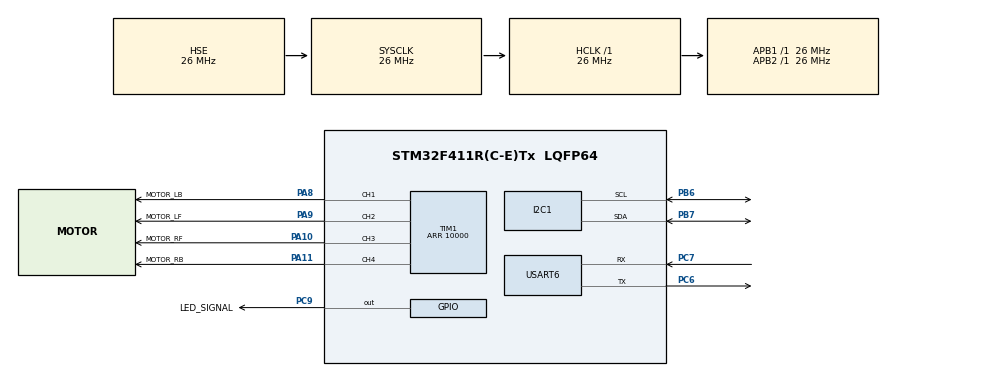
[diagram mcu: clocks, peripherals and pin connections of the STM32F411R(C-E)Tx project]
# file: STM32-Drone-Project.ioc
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I2C1.I2C_Mode=I2C_Fast
Mcu.Family=STM32F4
Mcu.Name=STM32F411R(C-E)Tx
Mcu.Package=LQFP64
NVIC.PriorityGroup=NVIC_PRIORITYGROUP_4
NVIC.USART6_IRQn=true\:0\:0\:false\:false\:true\:true\:true\:true
PA10.GPIO_Label=MOTOR_RF
PA10.Signal=S_TIM1_CH3
PA11.GPIO_Label=MOTOR_RB
PA11.Signal=S_TIM1_CH4
PA13.Mode=Serial_Wire
PA13.Signal=SYS_JTMS-SWDIO
PA14.Mode=Serial_Wire
PA14.Signal=SYS_JTCK-SWCLK
PA8.GPIO_Label=MOTOR_LB
PA8.Signal=S_TIM1_CH1
PA9.GPIO_Label=MOTOR_LF
PA9.Signal=S_TIM1_CH2
PB6.Mode=I2C
PB6.Signal=I2C1_SCL
PB7.Mode=I2C
PB7.Signal=I2C1_SDA
PC14-OSC32_IN.Mode=LSE-External-Oscillator
PC14-OSC32_IN.Signal=RCC_OSC32_IN
PC15-OSC32_OUT.Mode=LSE-External-Oscillator
PC15-OSC32_OUT.Signal=RCC_OSC32_OUT
PC6.Mode=Asynchronous
PC6.Signal=USART6_TX
PC7.Mode=Asynchronous
PC7.Signal=USART6_RX
PC9.GPIO_Label=LED_SIGNAL
PC9.Signal=GPIO_Output
PH0\ -\ OSC_IN.Mode=HSE-External-Oscillator
PH0\ -\ OSC_IN.Signal=RCC_OSC_IN
PH1\ -\ OSC_OUT.Mode=HSE-External-Oscillator
PH1\ -\ OSC_OUT.Signal=RCC_OSC_OUT
ProjectManager.HeapSize=0x200
ProjectManager.StackSize=0x400
ProjectManager.TargetToolchain=STM32CubeIDE
RCC.48MHZClocksFreq_Value=78000000
RCC.AHBFreq_Value=26000000
RCC.APB1Freq_Value=26000000
RCC.APB1TimFreq_Value=26000000
RCC.APB2Freq_Value=26000000
RCC.APB2TimFreq_Value=26000000
RCC.CortexFreq_Value=26000000
RCC.HCLKFreq_Value=26000000
RCC.HSE_VALUE=26000000
RCC.HSI_VALUE=16000000
RCC.PLLSourceVirtual=RCC_PLLSOURCE_HSE
RCC.SYSCLKFreq_VALUE=26000000
RCC.SYSCLKSource=RCC_SYSCLKSOURCE_HSE
RCC.VCOOutputFreq_Value=312000000
SH.S_TIM1_CH1.0=TIM1_CH1,PWM Generation1 CH1
SH.S_TIM1_CH2.0=TIM1_CH2,PWM Generation2 CH2
SH.S_TIM1_CH3.0=TIM1_CH3,PWM Generation3 CH3
SH.S_TIM1_CH4.0=TIM1_CH4,PWM Generation4 CH4
TIM1.Channel-PWM\ Generation1\ CH1=TIM_CHANNEL_1
TIM1.Channel-PWM\ Generation2\ CH2=TIM_CHANNEL_2
TIM1.Channel-PWM\ Generation3\ CH3=TIM_CHANNEL_3
TIM1.Channel-PWM\ Generation4\ CH4=TIM_CHANNEL_4
TIM1.Period=10000
USART6.VirtualMode=VM_ASYNC
board=custom

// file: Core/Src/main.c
/* USER CODE BEGIN Header */
/**
  ******************************************************************************
  * @file           : main.c
  * @brief          : Main program body
  ******************************************************************************
  */
/* USER CODE END Header */
#include "main.h"
#include "i2c.h"
#include "tim.h"
#include "usart.h"
#include "gpio.h"

/* USER CODE BEGIN Includes */
#include "MPU6050.h"
#include "Madgwick.h"
#include "protocol.h"
#include <stdio.h>
#include <string.h>
#include <math.h>
/* USER CODE END Includes */

/* USER CODE BEGIN PTD */
typedef enum {
    CTRL_MANUAL = 0,
    CTRL_STAB   = 1
} ControlMode_t;
/* USER CODE END PTD */

/* USER CODE BEGIN PD */
#define DEG2RAD 0.0174532925f
#define RAD2DEG 57.2957795f

#define IMU_UPDATE_PERIOD_MS 10u

#define ACC_LPF_CUTOFF_HZ  20.0f
#define ACC_G_MIN          0.20f
#define ACC_G_MAX          3.50f

#define TILT_KILL_DEG            35.0f
#define TILT_UNKILL_DEG          25.0f
#define TILT_KILL_DEBOUNCE_MS    50u
#define TILT_UNKILL_HOLD_MS      300u

#define PWM_MIN 0
#define PWM_MAX 10000
#define PWM_STAB_FLOOR 0

#define STAB_KP_ROLL    26.0f
#define STAB_KD_ROLL    7.0f
#define STAB_KI_ROLL    0.25f

#define STAB_KP_PITCH   26.0f
#define STAB_KD_PITCH   9.0f
#define STAB_KI_PITCH   0.25f

#define STAB_U_MAX      4200.0f
#define STAB_I_MAX      5200.0f

#define STAB_KFF_YAW       0.0f
#define STAB_YAW_SIGN      -1.0f
#define STAB_YAW_MAX       1500.0f
#define STAB_YAW_I_MAX     2500.0f
#define STAB_KP_YAW_RATE   5.0f
#define STAB_KI_YAW_RATE   0.08f

#define IMU_SWAP_ROLL_PITCH  1

#define STAB_ROLL_SIGN       1.0f
#define STAB_PITCH_SIGN     -1.0f

#define YAW_CCW_IS_RF_LB     1
#define YAW_MIX_FRONT_CCW_REAR_CW  1

#define CMD_TILT_SLEW_DEG_PER_S     80.0f
#define CMD_YAW_SLEW_DPS_PER_S     900.0f
#define BASE_SLEW_PWM_PER_S      7000.0f
#define NAV_BIAS_SLEW_PWM_PER_S    6000.0f

#define MOTOR_GAIN_LF   1.150f
#define MOTOR_GAIN_LB   1.000f
#define MOTOR_GAIN_RF   1.500f
#define MOTOR_GAIN_RB   1.150f

#define MOTOR_OFFS_LF   150.0f
#define MOTOR_OFFS_LB   0.0f
#define MOTOR_OFFS_RF   300.0f
#define MOTOR_OFFS_RB   200.0f

#define YAW_TRIM        450.0f
#define ROLL_TRIM_DEG   0.00f
#define PITCH_TRIM_DEG  0.00f

#define LEVEL_CALIB_SAMPLES         200u
#define LEVEL_CALIB_GYRO_MAX_DPS    2.5f
#define LEVEL_CALIB_ACC_OK_REQUIRED 1

#define CG_ROLL_BIAS_GROUND_PWM   -235
#define CG_ROLL_BIAS_AIR_PWM      -235

#define CG_PITCH_BIAS_GROUND_PWM  160
#define CG_PITCH_BIAS_AIR_PWM     160

#define CG_BIAS_START_PWM   1400u
#define CG_BIAS_FULL_PWM    3200u

#define I_ENABLE_BASE_PWM   7800
#define I_DISABLE_BASE_PWM  7400

#define NAV_TILT_DEG        10.0f
#define NAV_YAW_RATE_DPS    180.0f
#define NAV_THRUST_BIAS     0
#define NAV_MIX_GAIN        1.0f

#define TAKEOFF_BLEND_START_PWM  0.0f
#define TAKEOFF_BLEND_FULL_PWM   1.0f
#define TAKEOFF_BLEND_MIN        1.0f

#define ACT_ENABLE_BASE_PWM     7800u
#define ACT_MAX_ANGLE_DEG       2.0f
#define ACT_MAX_RATE_DPS        15.0f
#define ACT_K                  4.0f
#define ACT_MAX_BIAS_PWM       500.0f
#define ACT_ERR_LPF_HZ          1.0f
/* USER CODE END PD */

/* USER CODE BEGIN PV */
MPU6050_t imu;
Madgwick_t filter;

static uint32_t lastTick = 0;

static ImuPayload_t g_imu_last;
static uint8_t g_imu_ready = 0;
static uint32_t g_imu_last_update = 0;

static volatile uint8_t g_tilt_kill = 0;
static uint32_t g_tilt_kill_since = 0;
static uint32_t g_tilt_unkill_since = 0;

static float ax_f = 0.0f, ay_f = 0.0f, az_f = 1.0f;

static PwmPayload_t g_last_pwm_cmd;
static uint8_t g_have_pwm_cmd = 0;

static volatile ControlMode_t g_ctrl_mode = CTRL_MANUAL;
static volatile uint8_t g_armed = 0;

static float i_roll = 0.0f, i_pitch = 0.0f, i_yaw = 0.0f;
static uint8_t g_i_enabled = 0;

static volatile float g_roll_deg = 0.0f;
static volatile float g_pitch_deg = 0.0f;
static volatile float g_gyro_roll_dps = 0.0f;
static volatile float g_gyro_pitch_dps = 0.0f;
static volatile float g_gyro_yaw_dps = 0.0f;
static volatile uint8_t g_att_valid = 0;

static volatile float g_cmd_roll_deg = 0.0f;
static volatile float g_cmd_pitch_deg = 0.0f;
static volatile float g_cmd_yaw_rate_dps = 0.0f;
static volatile uint16_t g_stab_base_pwm = 0;
static volatile int32_t g_nav_bias = 0;

static volatile float g_target_cmd_roll_deg = 0.0f;
static volatile float g_target_cmd_pitch_deg = 0.0f;
static volatile float g_target_cmd_yaw_rate_dps = 0.0f;
static volatile uint16_t g_target_base_pwm = 0;
static volatile uint8_t g_last_nav_action = NAV_STOP;

static volatile uint8_t g_imu_new = 0;

static volatile float g_level_roll_off = 0.0f;
static volatile float g_level_pitch_off = 0.0f;
static volatile uint8_t g_level_calib_done = 0;
static float g_level_sum_roll = 0.0f;
static float g_level_sum_pitch = 0.0f;
static uint16_t g_level_n = 0;

static volatile int16_t  g_dbg_err_roll_cdeg  = 0;
static volatile int16_t  g_dbg_err_pitch_cdeg = 0;

static volatile int16_t  g_dbg_u_roll  = 0;
static volatile int16_t  g_dbg_u_pitch = 0;
static volatile int16_t  g_dbg_u_yaw   = 0;

static volatile uint16_t g_dbg_k_milli = 1000;
static volatile uint8_t  g_dbg_sat = 0;
static volatile uint8_t  g_dbg_i_enabled = 0;

static volatile float g_hover_ref_roll = 0.0f;
static volatile float g_hover_ref_pitch = 0.0f;
static volatile uint8_t g_hover_ref_valid = 0;

static float g_act_bias_roll  = 0.0f;
static float g_act_bias_pitch = 0.0f;

static float g_act_err_roll_f  = 0.0f;
static float g_act_err_pitch_f = 0.0f;
/* USER CODE END PV */

void SystemClock_Config(void);

/* USER CODE BEGIN PFP */
#define UART_RX_RING_SIZE 256

static volatile uint8_t  uart_rx_ring[UART_RX_RING_SIZE];
static volatile uint16_t uart_rx_head = 0;
static volatile uint16_t uart_rx_tail = 0;
static uint8_t uart_rx_it_byte;

static void UartRing_Push(uint8_t b)
{
    uint16_t next = (uint16_t)((uart_rx_head + 1) % UART_RX_RING_SIZE);
    if (next != uart_rx_tail)
    {
        uart_rx_ring[uart_rx_head] = b;
        uart_rx_head = next;
    }
}

static int UartRing_Pop(uint8_t *out)
{
    if (uart_rx_tail == uart_rx_head) return 0;
    *out = uart_rx_ring[uart_rx_tail];
    uart_rx_tail = (uint16_t)((uart_rx_tail + 1) % UART_RX_RING_SIZE);
    return 1;
}

static inline float lpf_alpha(float dt, float cutoff_hz)
{
    const float RC = 1.0f / (2.0f * 3.1415926535f * cutoff_hz);
    return dt / (dt + RC);
}

static inline void lpf3(float dt, float cutoff_hz,
                        float ax, float ay, float az,
                        float *ox, float *oy, float *oz)
{
    float a = lpf_alpha(dt, cutoff_hz);
    *ox += a * (ax - *ox);
    *oy += a * (ay - *oy);
    *oz += a * (az - *oz);
}

static inline int accel_norm_ok(float ax, float ay, float az, float g_min, float g_max)
{
    float n = sqrtf(ax*ax + ay*ay + az*az);
    return (n >= g_min && n <= g_max) ? 1 : 0;
}

static inline uint16_t clamp_u16(int32_t v, int32_t lo, int32_t hi)
{
    if (v < lo) return (uint16_t)lo;
    if (v > hi) return (uint16_t)hi;
    return (uint16_t)v;
}

static inline float clamp_f(float v, float lo, float hi)
{
    if (v < lo) return lo;
    if (v > hi) return hi;
    return v;
}

static inline float slew_f(float cur, float target, float max_rate_per_s, float dt)
{
    float max_step = max_rate_per_s * dt;
    float d = target - cur;
    if (d > max_step) d = max_step;
    if (d < -max_step) d = -max_step;
    return cur + d;
}

static inline int32_t slew_i32(int32_t cur, int32_t target, float max_rate_per_s, float dt)
{
    float max_step_f = max_rate_per_s * dt;
    int32_t max_step = (int32_t)lroundf(max_step_f);
    int32_t d = target - cur;
    if (d > max_step) d = max_step;
    if (d < -max_step) d = -max_step;
    return cur + d;
}

static void GetCtrlAnglesNow(float *out_roll_ctrl_deg, float *out_pitch_ctrl_deg)
{
    float roll_raw  = (float)g_roll_deg;
    float pitch_raw = (float)g_pitch_deg;

    float roll_meas_raw, pitch_meas_raw;

#if IMU_SWAP_ROLL_PITCH
    roll_meas_raw  = pitch_raw - g_level_pitch_off;
    pitch_meas_raw = roll_raw  - g_level_roll_off;
#else
    roll_meas_raw  = roll_raw  - g_level_roll_off;
    pitch_meas_raw = pitch_raw - g_level_pitch_off;
#endif

    float roll_ctrl  = roll_meas_raw  * STAB_ROLL_SIGN;
    float pitch_ctrl = pitch_meas_raw * STAB_PITCH_SIGN;

    *out_roll_ctrl_deg  = roll_ctrl;
    *out_pitch_ctrl_deg = pitch_ctrl;
}

static float Mixer_ComputeScale(int32_t base, float c_lf, float c_rf, float c_lb, float c_rb)
{
    float k = 1.0f;
    float c[4] = { c_lf, c_rf, c_lb, c_rb };

    for (int i = 0; i < 4; ++i)
    {
        float ci = c[i];
        if (ci > 0.0f)
        {
            float lim = ((float)PWM_MAX - (float)base) / ci;
            if (lim < k) k = lim;
        }
        else if (ci < 0.0f)
        {
            float lim = ((float)PWM_STAB_FLOOR - (float)base) / ci;
            if (lim < k) k = lim;
        }
    }

    if (k > 1.0f) k = 1.0f;
    if (k < 0.0f) k = 0.0f;
    return k;
}

static float CgBiasScale(uint16_t base_pwm)
{
    if (base_pwm <= CG_BIAS_START_PWM) return 0.0f;
    if (base_pwm >= CG_BIAS_FULL_PWM)  return 1.0f;
    return ((float)base_pwm - (float)CG_BIAS_START_PWM) /
           ((float)CG_BIAS_FULL_PWM  - (float)CG_BIAS_START_PWM);
}

static inline float lerp_f(float a, float b, float t)
{
    return a + (b - a) * t;
}

static float AirBlend(uint16_t base_pwm)
{
    if (base_pwm <= TAKEOFF_BLEND_START_PWM) return 0.0f;
    if (base_pwm >= TAKEOFF_BLEND_FULL_PWM)  return 1.0f;

    return ((float)base_pwm - (float)TAKEOFF_BLEND_START_PWM) /
           ((float)TAKEOFF_BLEND_FULL_PWM  - (float)TAKEOFF_BLEND_START_PWM);
}

static void Manual_ApplyComp(uint16_t base_pwm, PwmPayload_t *out)
{
    if (base_pwm > PWM_MAX) base_pwm = PWM_MAX;

    float base = (float)base_pwm;

    float airk = AirBlend(base_pwm);
    float cgk  = CgBiasScale(base_pwm);

    float roll_bias_pwm  = lerp_f((float)CG_ROLL_BIAS_GROUND_PWM,
                                  (float)CG_ROLL_BIAS_AIR_PWM,
                                  airk);

    float pitch_bias_pwm = lerp_f((float)CG_PITCH_BIAS_GROUND_PWM,
                                  (float)CG_PITCH_BIAS_AIR_PWM,
                                  airk);

    float roll_bias  = roll_bias_pwm  * cgk;
    float pitch_bias = pitch_bias_pwm * cgk;

    float b_lf = base + pitch_bias + roll_bias;
    float b_rf = base + pitch_bias - roll_bias;
    float b_lb = base - pitch_bias + roll_bias;
    float b_rb = base - pitch_bias - roll_bias;

    float trimk = cgk;

    float out_lf_f = b_lf * MOTOR_GAIN_LF + MOTOR_OFFS_LF * trimk;
    float out_rf_f = b_rf * MOTOR_GAIN_RF + MOTOR_OFFS_RF * trimk;
    float out_lb_f = b_lb * MOTOR_GAIN_LB + MOTOR_OFFS_LB * trimk;
    float out_rb_f = b_rb * MOTOR_GAIN_RB + MOTOR_OFFS_RB * trimk;

    float max_out = fmaxf(fmaxf(out_lf_f, out_rf_f), fmaxf(out_lb_f, out_rb_f));
    if (max_out > (float)PWM_MAX)
    {
        float d = max_out - (float)PWM_MAX;
        out_lf_f -= d;
        out_rf_f -= d;
        out_lb_f -= d;
        out_rb_f -= d;
    }

    float min_out = fminf(fminf(out_lf_f, out_rf_f), fminf(out_lb_f, out_rb_f));
    if (min_out < (float)PWM_STAB_FLOOR)
    {
        float d = (float)PWM_STAB_FLOOR - min_out;
        out_lf_f += d;
        out_rf_f += d;
        out_lb_f += d;
        out_rb_f += d;
    }

    int32_t lf = (int32_t)lroundf(out_lf_f);
    int32_t rf = (int32_t)lroundf(out_rf_f);
    int32_t lb = (int32_t)lroundf(out_lb_f);
    int32_t rb = (int32_t)lroundf(out_rb_f);

    out->motor_lf = clamp_u16(lf, PWM_STAB_FLOOR, PWM_MAX);
    out->motor_rf = clamp_u16(rf, PWM_STAB_FLOOR, PWM_MAX);
    out->motor_lb = clamp_u16(lb, PWM_STAB_FLOOR, PWM_MAX);
    out->motor_rb = clamp_u16(rb, PWM_STAB_FLOOR, PWM_MAX);
}

static void ACT_Reset(void)
{
    g_act_bias_roll  = 0.0f;
    g_act_bias_pitch = 0.0f;
    g_act_err_roll_f  = 0.0f;
    g_act_err_pitch_f = 0.0f;
}

static int ACT_ConditionsOk(uint16_t base_pwm)
{
    if (base_pwm < ACT_ENABLE_BASE_PWM) return 0;
    if (!g_att_valid) return 0;
    if (g_tilt_kill) return 0;
    if (fabsf(g_roll_deg)  > ACT_MAX_ANGLE_DEG) return 0;
    if (fabsf(g_pitch_deg) > ACT_MAX_ANGLE_DEG) return 0;
    if (fabsf(g_gyro_roll_dps)  > ACT_MAX_RATE_DPS) return 0;
    if (fabsf(g_gyro_pitch_dps) > ACT_MAX_RATE_DPS) return 0;
    return 1;
}
/* USER CODE END PFP */

/* USER CODE BEGIN 0 */
int _write(int file, char *ptr, int len)
{
    HAL_UART_Transmit(&huart6, (uint8_t*)ptr, len, HAL_MAX_DELAY);
    return len;
}

static void ESP_LeaveSendMode(void)
{
    const char* cmd = "+";
    HAL_UART_Transmit(&huart6, (uint8_t*)cmd, strlen(cmd), HAL_MAX_DELAY);
    HAL_UART_Transmit(&huart6, (uint8_t*)cmd, strlen(cmd), HAL_MAX_DELAY);
    HAL_UART_Transmit(&huart6, (uint8_t*)cmd, strlen(cmd), HAL_MAX_DELAY);
    HAL_Delay(1000);
}

static void ESP_Send(const char *cmd, uint32_t delay_ms)
{
    HAL_UART_Transmit(&huart6, (uint8_t*)cmd, strlen(cmd), HAL_MAX_DELAY);
    HAL_UART_Transmit(&huart6, (uint8_t*)"\r\n", 2, HAL_MAX_DELAY);
    HAL_Delay(delay_ms);
}

static int ESP_WaitFor(const char *expected, uint32_t timeout_ms)
{
    uint32_t t0 = HAL_GetTick();
    uint16_t idx = 0;
    char buf[64] = {0};
    uint8_t c;

    while (HAL_GetTick() - t0 < timeout_ms)
    {
        if (HAL_UART_Receive(&huart6, &c, 1, 10) == HAL_OK)
        {
            if (idx < sizeof(buf) - 1)
            {
                buf[idx++] = (char)c;
                buf[idx] = 0;
            }
            if (strstr(buf, expected)) return 1;
        }
    }
    return 0;
}

static void ESP_ConnectWithRetry(void)
{
    while (1)
    {
        ESP_Send("AT+CIPSTART=\"TCP\",\"192.168.8.100\",3333", 0);
        if (ESP_WaitFor("OK", 3000) || ESP_WaitFor("ALREADY CONNECTED", 1000)) break;
        HAL_Delay(500);
        HAL_Delay(500);
    }
}

void ESP_Init(void)
{
    ESP_LeaveSendMode();
    ESP_Send("AT+RST", 2000);
    ESP_Send("ATE0", 200);

    ESP_Send("AT+CWMODE=1", 200);
    ESP_Send("AT+CIPSTA=\"192.168.8.127\",\"192.168.8.1\",\"255.255.255.0\"", 500);
    ESP_Send("AT+CWJAP=\"HUAWEI-7975\",\"40720250\"", 500);

    ESP_Send("AT+CIPMUX=0", 200);
    ESP_ConnectWithRetry();

    ESP_Send("AT+CIPMODE=1", 200);
    ESP_Send("AT+CIPSEND", 0);

    if (!ESP_WaitFor(">", 2000)) { while (1) { } }

    uint8_t dump;
    while (HAL_UART_Receive(&huart6, &dump, 1, 10) == HAL_OK) { }
}

static void IMU_Init(void)
{
    if (MPU6050_Init(&hi2c1) != HAL_OK) Error_Handler();
    if (MPU6050_CalibrateGyro(&hi2c1, &imu, 1000) != HAL_OK) Error_Handler();

    Madgwick_Init(&filter, 0.05f);
    filter.q0 = 1.0f; filter.q1 = 0.0f; filter.q2 = 0.0f; filter.q3 = 0.0f;

    ax_f = 0.0f; ay_f = 0.0f; az_f = 1.0f;

    lastTick = HAL_GetTick();
    g_imu_last_update = lastTick;

    g_tilt_kill = 0;
    g_tilt_kill_since = 0;
    g_tilt_unkill_since = 0;

    g_cmd_roll_deg = 0.0f;
    g_cmd_pitch_deg = 0.0f;
    g_cmd_yaw_rate_dps = 0.0f;

    float r0, p0;
    GetCtrlAnglesNow(&r0, &p0);

    g_target_cmd_roll_deg  = 0.0f;
    g_target_cmd_pitch_deg = 0.0f;
    g_target_cmd_yaw_rate_dps = 0.0f;

    g_cmd_roll_deg  = r0;
    g_cmd_pitch_deg = p0;
    g_cmd_yaw_rate_dps = 0.0f;

    g_stab_base_pwm = 0;
    g_target_base_pwm = 0;

    g_nav_bias = 0;
    g_last_nav_action = NAV_STOP;

    i_roll = 0.0f;
    i_pitch = 0.0f;
    i_yaw = 0.0f;
    g_i_enabled = 0;

    g_imu_new = 0;

    g_level_roll_off = 0.0f;
    g_level_pitch_off = 0.0f;
    g_level_calib_done = 0;
    g_level_sum_roll = 0.0f;
    g_level_sum_pitch = 0.0f;
    g_level_n = 0;

    HAL_GPIO_WritePin(LED_SIGNAL_GPIO_Port, LED_SIGNAL_Pin, 0);
    ACT_Reset();
}

static void PWM_StartAll(void)
{
    HAL_TIM_PWM_Start(&htim1, TIM_CHANNEL_1);
    HAL_TIM_PWM_Start(&htim1, TIM_CHANNEL_2);
    HAL_TIM_PWM_Start(&htim1, TIM_CHANNEL_3);
    HAL_TIM_PWM_Start(&htim1, TIM_CHANNEL_4);
    __HAL_TIM_MOE_ENABLE(&htim1);
}

static void PWM_SetSafe(void)
{
    __HAL_TIM_SET_COMPARE(&htim1, TIM_CHANNEL_1, 0);
    __HAL_TIM_SET_COMPARE(&htim1, TIM_CHANNEL_2, 0);
    __HAL_TIM_SET_COMPARE(&htim1, TIM_CHANNEL_3, 0);
    __HAL_TIM_SET_COMPARE(&htim1, TIM_CHANNEL_4, 0);
}

static void ReadPwm(PwmPayload_t *p)
{
    p->motor_lb = __HAL_TIM_GET_COMPARE(&htim1, TIM_CHANNEL_1);
    p->motor_lf = __HAL_TIM_GET_COMPARE(&htim1, TIM_CHANNEL_2);
    p->motor_rf = __HAL_TIM_GET_COMPARE(&htim1, TIM_CHANNEL_3);
    p->motor_rb = __HAL_TIM_GET_COMPARE(&htim1, TIM_CHANNEL_4);
}

static void SetPwm(const PwmPayload_t *p)
{
    g_last_pwm_cmd = *p;
    g_have_pwm_cmd = 1;

    if (g_tilt_kill)
    {
        PWM_SetSafe();
        return;
    }

    __HAL_TIM_SET_COMPARE(&htim1, TIM_CHANNEL_1, p->motor_lb);
    __HAL_TIM_SET_COMPARE(&htim1, TIM_CHANNEL_2, p->motor_lf);
    __HAL_TIM_SET_COMPARE(&htim1, TIM_CHANNEL_3, p->motor_rf);
    __HAL_TIM_SET_COMPARE(&htim1, TIM_CHANNEL_4, p->motor_rb);
}

static void IMU_UpdateContinuous(void)
{
    uint32_t now = HAL_GetTick();
    if ((now - g_imu_last_update) < IMU_UPDATE_PERIOD_MS) return;
    g_imu_last_update = now;

    MPU6050_ReadRaw(&hi2c1, &imu);
    MPU6050_ComputeScaled(&imu);

    if (lastTick == 0) { lastTick = now; return; }

    float dt = (now - lastTick) * 0.001f;
    lastTick = now;

    if (dt <= 0.0f) return;
    if (dt > 0.02f) dt = 0.02f;

    lpf3(dt, ACC_LPF_CUTOFF_HZ, imu.acc_x, imu.acc_y, imu.acc_z, &ax_f, &ay_f, &az_f);
    int acc_ok = accel_norm_ok(ax_f, ay_f, az_f, ACC_G_MIN, ACC_G_MAX);

    float gx = imu.gyro_x * DEG2RAD;
    float gy = imu.gyro_y * DEG2RAD;
    float gz = imu.gyro_z * DEG2RAD;

    if (acc_ok) Madgwick_UpdateIMU(&filter, gx, gy, gz, ax_f, ay_f, az_f, dt);
    else        Madgwick_UpdateIMU(&filter, gx, gy, gz, 0.0f, 0.0f, 0.0f, dt);

    float roll  = atan2f(
        2.0f * (filter.q0 * filter.q1 + filter.q2 * filter.q3),
        1.0f - 2.0f * (filter.q1 * filter.q1 + filter.q2 * filter.q2)
    ) * RAD2DEG;

    float s = 2.0f * (filter.q0 * filter.q2 - filter.q3 * filter.q1);
    s = clamp_f(s, -1.0f, 1.0f);
    float pitch = asinf(s) * RAD2DEG;

    float yaw = atan2f(
        2.0f * (filter.q0 * filter.q3 + filter.q1 * filter.q2),
        1.0f - 2.0f * (filter.q2 * filter.q2 + filter.q3 * filter.q3)
    ) * RAD2DEG;

    g_imu_last.roll  = (int16_t)(roll  * 100.0f);
    g_imu_last.pitch = (int16_t)(pitch * 100.0f);
    g_imu_last.yaw   = (int16_t)(yaw   * 100.0f);

    g_roll_deg = roll;
    g_pitch_deg = pitch;

    g_gyro_roll_dps  = imu.gyro_x;
    g_gyro_pitch_dps = imu.gyro_y;
    g_gyro_yaw_dps   = imu.gyro_z;

    g_att_valid = 1;

    if (!g_level_calib_done && !g_armed)
    {
        int gyro_ok = (fabsf(imu.gyro_x) < LEVEL_CALIB_GYRO_MAX_DPS) &&
                      (fabsf(imu.gyro_y) < LEVEL_CALIB_GYRO_MAX_DPS) &&
                      (fabsf(imu.gyro_z) < LEVEL_CALIB_GYRO_MAX_DPS);

        int acc_req_ok = 1;
#if LEVEL_CALIB_ACC_OK_REQUIRED
        acc_req_ok = acc_ok;
#endif

        if (gyro_ok && acc_req_ok)
        {
            g_level_sum_roll  += roll;
            g_level_sum_pitch += pitch;
            g_level_n++;

            if (g_level_n >= LEVEL_CALIB_SAMPLES)
            {
                g_level_roll_off  = g_level_sum_roll  / (float)g_level_n;
                g_level_pitch_off = g_level_sum_pitch / (float)g_level_n;
                g_level_calib_done = 1;

                HAL_GPIO_WritePin(LED_SIGNAL_GPIO_Port, LED_SIGNAL_Pin, 1);
                HAL_Delay(60);
                HAL_GPIO_WritePin(LED_SIGNAL_GPIO_Port, LED_SIGNAL_Pin, 0);
            }
        }
        else
        {
            g_level_sum_roll = 0.0f;
            g_level_sum_pitch = 0.0f;
            g_level_n = 0;
        }
    }

    float aroll  = fabsf(roll);
    float apitch = fabsf(pitch);

    if (!g_tilt_kill)
    {
        if (aroll > TILT_KILL_DEG || apitch > TILT_KILL_DEG)
        {
            if (g_tilt_kill_since == 0) g_tilt_kill_since = now;
            if ((now - g_tilt_kill_since) >= TILT_KILL_DEBOUNCE_MS)
            {
                g_tilt_kill = 1;
                g_tilt_unkill_since = 0;
                HAL_GPIO_WritePin(LED_SIGNAL_GPIO_Port, LED_SIGNAL_Pin, 1);
                PWM_SetSafe();
                g_ctrl_mode = CTRL_MANUAL;
            }
        }
        else g_tilt_kill_since = 0;
    }
    else
    {
        if (aroll < TILT_UNKILL_DEG && apitch < TILT_UNKILL_DEG)
        {
            if (g_tilt_unkill_since == 0) g_tilt_unkill_since = now;
            if ((now - g_tilt_unkill_since) >= TILT_UNKILL_HOLD_MS)
            {
                g_tilt_kill = 0;
                g_tilt_kill_since = 0;
                HAL_GPIO_WritePin(LED_SIGNAL_GPIO_Port, LED_SIGNAL_Pin, 0);
            }
        }
        else g_tilt_unkill_since = 0;
    }

    g_imu_new = 1;
    g_imu_ready = 1;
}

static void ControlStep_Stabilize(void)
{
    static uint32_t last_ctrl = 0;
    uint32_t now = HAL_GetTick();
    float dt = 0.01f;

    if (last_ctrl != 0)
    {
        dt = (now - last_ctrl) * 0.001f;
        if (dt < 0.001f) dt = 0.001f;
        if (dt > 0.05f)  dt = 0.05f;
    }
    last_ctrl = now;

    if (g_tilt_kill) { PWM_SetSafe(); return; }
    if (!g_att_valid) return;

    if (g_target_base_pwm > PWM_MAX) g_target_base_pwm = PWM_MAX;

    g_stab_base_pwm = (uint16_t)lroundf(
        slew_f((float)g_stab_base_pwm, (float)g_target_base_pwm, BASE_SLEW_PWM_PER_S, dt)
    );

    g_cmd_roll_deg = slew_f(g_cmd_roll_deg, g_target_cmd_roll_deg, CMD_TILT_SLEW_DEG_PER_S, dt);
    g_cmd_pitch_deg = slew_f(g_cmd_pitch_deg, g_target_cmd_pitch_deg, CMD_TILT_SLEW_DEG_PER_S, dt);
    g_cmd_yaw_rate_dps = slew_f(g_cmd_yaw_rate_dps, g_target_cmd_yaw_rate_dps, CMD_YAW_SLEW_DPS_PER_S, dt);

    int32_t target_bias = 0;
    if (g_last_nav_action == NAV_FORWARD || g_last_nav_action == NAV_BACK ||
        g_last_nav_action == NAV_LEFT    || g_last_nav_action == NAV_RIGHT)
    {
        target_bias = (int32_t)NAV_THRUST_BIAS;
    }
    g_nav_bias = slew_i32(g_nav_bias, target_bias, NAV_BIAS_SLEW_PWM_PER_S, dt);

    if (!g_i_enabled)
    {
        if (g_stab_base_pwm >= I_ENABLE_BASE_PWM) g_i_enabled = 1;
    }
    else
    {
        if (g_stab_base_pwm <= I_DISABLE_BASE_PWM) g_i_enabled = 0;
    }

    float roll_meas_raw, pitch_meas_raw;
    float roll_rate_raw, pitch_rate_raw;

#if IMU_SWAP_ROLL_PITCH
    roll_meas_raw  = (float)g_pitch_deg - (float)g_level_pitch_off;
    pitch_meas_raw = (float)g_roll_deg  - (float)g_level_roll_off;

    roll_rate_raw  = (float)g_gyro_pitch_dps;
    pitch_rate_raw = (float)g_gyro_roll_dps;
#else
    roll_meas_raw  = (float)g_roll_deg  - (float)g_level_roll_off;
    pitch_meas_raw = (float)g_pitch_deg - (float)g_level_pitch_off;

    roll_rate_raw  = (float)g_gyro_roll_dps;
    pitch_rate_raw = (float)g_gyro_pitch_dps;
#endif

    float roll_meas  = roll_meas_raw  * STAB_ROLL_SIGN;
    float pitch_meas = pitch_meas_raw * STAB_PITCH_SIGN;

    float roll_rate  = roll_rate_raw  * STAB_ROLL_SIGN;
    float pitch_rate = pitch_rate_raw * STAB_PITCH_SIGN;

    float cmd_roll  = g_cmd_roll_deg  + ROLL_TRIM_DEG;
    float cmd_pitch = g_cmd_pitch_deg + PITCH_TRIM_DEG;

    float ref_roll  = g_hover_ref_valid ? g_hover_ref_roll  : cmd_roll;
    float ref_pitch = g_hover_ref_valid ? g_hover_ref_pitch : cmd_pitch;

    float err_roll  = ref_roll  - roll_meas;
    float err_pitch = ref_pitch - pitch_meas;

    float u_roll_pd  = STAB_KP_ROLL  * err_roll  - STAB_KD_ROLL  * roll_rate;
    float u_pitch_pd = STAB_KP_PITCH * err_pitch - STAB_KD_PITCH * pitch_rate;

    u_roll_pd  = clamp_f(u_roll_pd,  -STAB_U_MAX, STAB_U_MAX);
    u_pitch_pd = clamp_f(u_pitch_pd, -STAB_U_MAX, STAB_U_MAX);

    float yaw_rate = (float)g_gyro_yaw_dps * STAB_YAW_SIGN;
    float yaw_cmd  = (float)g_cmd_yaw_rate_dps * STAB_YAW_SIGN;
    float yaw_rate_err = yaw_cmd - yaw_rate;

    float u_yaw = STAB_KP_YAW_RATE * yaw_rate_err
                + STAB_KI_YAW_RATE * i_yaw
                + STAB_KFF_YAW * yaw_cmd;

    u_yaw = clamp_f(u_yaw, -STAB_YAW_MAX, STAB_YAW_MAX);

    float u_yaw_total = u_yaw + YAW_TRIM;
    u_yaw_total = clamp_f(u_yaw_total, -STAB_YAW_MAX, STAB_YAW_MAX);

    float u_roll  = u_roll_pd  + STAB_KI_ROLL  * i_roll;
    float u_pitch = u_pitch_pd + STAB_KI_PITCH * i_pitch;

    u_roll  = clamp_f(u_roll,  -STAB_U_MAX, STAB_U_MAX);
    u_pitch = clamp_f(u_pitch, -STAB_U_MAX, STAB_U_MAX);

    float blend;
    float base_f = (float)g_stab_base_pwm;

    if (base_f <= TAKEOFF_BLEND_START_PWM)
    {
        blend = TAKEOFF_BLEND_MIN;
    }
    else if (base_f >= TAKEOFF_BLEND_FULL_PWM)
    {
        blend = 1.0f;
    }
    else
    {
        float t = (base_f - TAKEOFF_BLEND_START_PWM) /
                  (TAKEOFF_BLEND_FULL_PWM - TAKEOFF_BLEND_START_PWM);
        blend = TAKEOFF_BLEND_MIN + (1.0f - TAKEOFF_BLEND_MIN) * t;
    }

    u_roll *= blend;
    u_pitch *= blend;

    u_yaw_total *= blend;
    u_yaw_total = clamp_f(u_yaw_total, -STAB_YAW_MAX, STAB_YAW_MAX);

    if (ACT_ConditionsOk(g_stab_base_pwm))
    {
        float a = lpf_alpha(dt, ACT_ERR_LPF_HZ);
        g_act_err_roll_f  += a * (err_roll  - g_act_err_roll_f);
        g_act_err_pitch_f += a * (err_pitch - g_act_err_pitch_f);

        g_act_bias_roll  += ACT_K * g_act_err_roll_f  * dt;
        g_act_bias_pitch += ACT_K * g_act_err_pitch_f * dt;

        g_act_bias_roll  = clamp_f(g_act_bias_roll,  -ACT_MAX_BIAS_PWM, ACT_MAX_BIAS_PWM);
        g_act_bias_pitch = clamp_f(g_act_bias_pitch, -ACT_MAX_BIAS_PWM, ACT_MAX_BIAS_PWM);
    }

    float airk = AirBlend(g_stab_base_pwm);
    u_yaw_total *= airk;

    int32_t base = (int32_t)g_stab_base_pwm;

    float c_lf = (-u_pitch + u_roll) + (-g_act_bias_pitch + g_act_bias_roll);
    float c_rf = (-u_pitch - u_roll) + (-g_act_bias_pitch - g_act_bias_roll);
    float c_lb = ( u_pitch + u_roll) + ( g_act_bias_pitch + g_act_bias_roll);
    float c_rb = ( u_pitch - u_roll) + ( g_act_bias_pitch - g_act_bias_roll);

    float nav = (float)g_nav_bias * NAV_MIX_GAIN;
    switch ((uint8_t)g_last_nav_action)
    {
        case NAV_FORWARD: c_lb += nav; c_rb += nav; c_lf -= nav; c_rf -= nav; break;
        case NAV_BACK:    c_lb -= nav; c_rb -= nav; c_lf += nav; c_rf += nav; break;
        case NAV_LEFT:    c_rb += nav; c_rf += nav; c_lb -= nav; c_lf -= nav; break;
        case NAV_RIGHT:   c_lb += nav; c_lf += nav; c_rb -= nav; c_rf -= nav; break;
        default: break;
    }

    float cgk  = CgBiasScale(g_stab_base_pwm);

    float roll_bias_pwm  = lerp_f((float)CG_ROLL_BIAS_GROUND_PWM,
                                  (float)CG_ROLL_BIAS_AIR_PWM,
                                  airk);

    float pitch_bias_pwm = lerp_f((float)CG_PITCH_BIAS_GROUND_PWM,
                                  (float)CG_PITCH_BIAS_AIR_PWM,
                                  airk);

    float roll_bias  = roll_bias_pwm  * cgk;
    float pitch_bias = pitch_bias_pwm * cgk;

    c_lf += pitch_bias;
    c_rf += pitch_bias;
    c_lb -= pitch_bias;
    c_rb -= pitch_bias;

    c_lf += roll_bias;
    c_lb += roll_bias;
    c_rf -= roll_bias;
    c_rb -= roll_bias;

#if YAW_CCW_IS_RF_LB
    c_rf += u_yaw_total;
    c_lb += u_yaw_total;
    c_lf -= u_yaw_total;
    c_rb -= u_yaw_total;
#else
    c_lf += u_yaw_total;
    c_rb += u_yaw_total;
    c_rf -= u_yaw_total;
    c_lb -= u_yaw_total;
#endif

    float k = Mixer_ComputeScale(base, c_lf, c_rf, c_lb, c_rb);
    int sat = (k < 0.999f) ? 1 : 0;

    if (g_i_enabled)
    {
        float leak = sat ? 0.15f : 0.0f;

        float i_gain_roll  = clamp_f(1.0f - fabsf(err_roll)  / 10.0f, 0.2f, 1.0f);
        float i_gain_pitch = clamp_f(1.0f - fabsf(err_pitch) / 10.0f, 0.2f, 1.0f);

        i_roll  += err_roll  * dt * i_gain_roll;
        i_pitch += err_pitch * dt * i_gain_pitch;
        i_yaw   += yaw_rate_err * dt;

        i_roll  = clamp_f(i_roll,  -STAB_I_MAX, STAB_I_MAX);
        i_pitch = clamp_f(i_pitch, -STAB_I_MAX, STAB_I_MAX);
        i_yaw   = clamp_f(i_yaw,   -STAB_YAW_I_MAX, STAB_YAW_I_MAX);

        if (leak > 0.0f)
        {
            i_roll  *= (1.0f - leak * dt);
            i_pitch *= (1.0f - leak * dt);
            i_yaw   *= (1.0f - leak * dt);
        }
    }
    else
    {
        i_roll  *= (1.0f - 0.8f * dt);
        i_pitch *= (1.0f - 0.8f * dt);
        i_yaw   *= (1.0f - 0.8f * dt);
    }

    float mix_lf = k * c_lf;
    float mix_rf = k * c_rf;
    float mix_lb = k * c_lb;
    float mix_rb = k * c_rb;

    float trimk = CgBiasScale(g_stab_base_pwm);

    float out_lf_f = (float)base + mix_lf * MOTOR_GAIN_LF + MOTOR_OFFS_LF * trimk;
    float out_rf_f = (float)base + mix_rf * MOTOR_GAIN_RF + MOTOR_OFFS_RF * trimk;
    float out_lb_f = (float)base + mix_lb * MOTOR_GAIN_LB + MOTOR_OFFS_LB * trimk;
    float out_rb_f = (float)base + mix_rb * MOTOR_GAIN_RB + MOTOR_OFFS_RB * trimk;

    float max_out = fmaxf(fmaxf(out_lf_f, out_rf_f), fmaxf(out_lb_f, out_rb_f));
    if (max_out > (float)PWM_MAX)
    {
        float d = max_out - (float)PWM_MAX;
        out_lf_f -= d;
        out_rf_f -= d;
        out_lb_f -= d;
        out_rb_f -= d;
    }

    float min_out = fminf(fminf(out_lf_f, out_rf_f), fminf(out_lb_f, out_rb_f));
    if (min_out < (float)PWM_STAB_FLOOR)
    {
        float d = (float)PWM_STAB_FLOOR - min_out;
        out_lf_f += d;
        out_rf_f += d;
        out_lb_f += d;
        out_rb_f += d;
    }

    int32_t lf = (int32_t)lroundf(out_lf_f);
    int32_t rf = (int32_t)lroundf(out_rf_f);
    int32_t lb = (int32_t)lroundf(out_lb_f);
    int32_t rb = (int32_t)lroundf(out_rb_f);

    PwmPayload_t out;
    out.motor_lf = clamp_u16(lf, PWM_STAB_FLOOR, PWM_MAX);
    out.motor_rf = clamp_u16(rf, PWM_STAB_FLOOR, PWM_MAX);
    out.motor_lb = clamp_u16(lb, PWM_STAB_FLOOR, PWM_MAX);
    out.motor_rb = clamp_u16(rb, PWM_STAB_FLOOR, PWM_MAX);

    g_dbg_err_roll_cdeg  = (int16_t)lroundf(clamp_f(err_roll,  -327.0f, 327.0f) * 100.0f);
    g_dbg_err_pitch_cdeg = (int16_t)lroundf(clamp_f(err_pitch, -327.0f, 327.0f) * 100.0f);

    g_dbg_u_roll  = (int16_t)lroundf(clamp_f(u_roll,  -32767.0f, 32767.0f));
    g_dbg_u_pitch = (int16_t)lroundf(clamp_f(u_pitch, -32767.0f, 32767.0f));
    g_dbg_u_yaw   = (int16_t)lroundf(clamp_f(u_yaw_total, -32767.0f, 32767.0f));

    float kk = clamp_f(k, 0.0f, 1.0f);
    g_dbg_k_milli = (uint16_t)lroundf(kk * 1000.0f);

    g_dbg_sat = (uint8_t)(sat ? 1 : 0);
    g_dbg_i_enabled = (uint8_t)(g_i_enabled ? 1 : 0);

    SetPwm(&out);
}

int main(void)
{
  HAL_Init();
  SystemClock_Config();

  MX_GPIO_Init();
  MX_I2C1_Init();
  MX_TIM1_Init();
  MX_USART6_UART_Init();

  PWM_StartAll();
  PWM_SetSafe();

  ESP_Init();
  IMU_Init();
  Protocol_Init();

  uart_rx_head = 0;
  uart_rx_tail = 0;

  HAL_UART_AbortReceive(&huart6);
  __HAL_UART_CLEAR_OREFLAG(&huart6);
  HAL_UART_Receive_IT(&huart6, &uart_rx_it_byte, 1);

  while (1)
  {
    IMU_UpdateContinuous();

    if (!g_armed || g_tilt_kill)
      PWM_SetSafe();
    else if (g_ctrl_mode == CTRL_STAB)
    {
      if (g_imu_new)
      {
        g_imu_new = 0;
        ControlStep_Stabilize();
      }
    }

    uint8_t b;
    while (UartRing_Pop(&b))
    {
      ProtoResult_t r = Protocol_PushByte(b);

      if (r == PROTO_OK)
      {
        const ProtoRxFrame_t *rx = Protocol_GetFrame();

        uint8_t tx[64];
        uint8_t tx_len = 0;

        if (rx->cmd == CMD_PING)
        {
          tx_len = Protocol_BuildFrame(DIR_STM_TO_PC, CMD_PONG, NULL, 0, tx, sizeof(tx));
        }
        else if (rx->cmd == CMD_PWM_READ)
        {
          PwmPayload_t pwm;
          ReadPwm(&pwm);
          tx_len = Protocol_BuildFrame(DIR_STM_TO_PC, CMD_PWM_DATA,
                                       (const uint8_t*)&pwm, PWM_PAYLOAD_SIZE,
                                       tx, sizeof(tx));
        }
        else if (rx->cmd == CMD_PWM_SET)
        {
          if (rx->len != PWM_PAYLOAD_SIZE)
          {
            tx_len = Protocol_BuildStatusFrame(ST_ERR_BAD_LEN, tx, sizeof(tx));
          }
          else
          {
            PwmPayload_t pwm_in;
            memcpy(&pwm_in, rx->data, PWM_PAYLOAD_SIZE);

            g_ctrl_mode = CTRL_MANUAL;

            g_target_cmd_roll_deg = 0.0f;
            g_target_cmd_pitch_deg = 0.0f;
            g_target_cmd_yaw_rate_dps = 0.0f;

            g_cmd_roll_deg = 0.0f;
            g_cmd_pitch_deg = 0.0f;
            g_cmd_yaw_rate_dps = 0.0f;

            g_last_nav_action = NAV_STOP;
            g_nav_bias = 0;

            i_roll = 0.0f;
            i_pitch = 0.0f;
            i_yaw = 0.0f;
            g_i_enabled = 0;

            uint32_t sum = (uint32_t)pwm_in.motor_lf + (uint32_t)pwm_in.motor_rf +
                           (uint32_t)pwm_in.motor_lb + (uint32_t)pwm_in.motor_rb;
            uint16_t base = (uint16_t)(sum / 4u);

            PwmPayload_t pwm_out;
            Manual_ApplyComp(base, &pwm_out);
            SetPwm(&pwm_out);

            tx_len = Protocol_BuildFrame(DIR_STM_TO_PC, CMD_PWM_ACK, NULL, 0, tx, sizeof(tx));
          }

          ACT_Reset();
        }
        else if (rx->cmd == CMD_IMU_READ)
        {
          if (!g_imu_ready)
          {
            tx_len = Protocol_BuildStatusFrame(ST_ERR_IMU_NOT_READY, tx, sizeof(tx));
          }
          else
          {
            ImuPayload_t snap = g_imu_last;
            tx_len = Protocol_BuildFrame(DIR_STM_TO_PC, CMD_IMU_DATA,
                                         (const uint8_t*)&snap, IMU_PAYLOAD_SIZE,
                                         tx, sizeof(tx));
          }
        }
        else if (rx->cmd == CMD_TELEM_READ)
        {
          if (!g_imu_ready)
          {
            tx_len = Protocol_BuildStatusFrame(ST_ERR_IMU_NOT_READY, tx, sizeof(tx));
          }
          else
          {
            TelemetryPayload_t tp;
            tp.imu = g_imu_last;
            ReadPwm(&tp.pwm);

            tx_len = Protocol_BuildFrame(DIR_STM_TO_PC, CMD_TELEM_DATA,
                                         (const uint8_t*)&tp, TELEM_PAYLOAD_SIZE,
                                         tx, sizeof(tx));
          }
        }
        else if (rx->cmd == CMD_TELEM_LVL_READ)
        {
            if (!g_imu_ready)
            {
                tx_len = Protocol_BuildStatusFrame(ST_ERR_IMU_NOT_READY, tx, sizeof(tx));
            }
            else
            {
                TelemetryLvlPayload_t tp;
                memset(&tp, 0, sizeof(tp));

                float roll_raw  = g_roll_deg;
                float pitch_raw = g_pitch_deg;
                float yaw_raw   = (float)g_imu_last.yaw / 100.0f;

                float roll_lvl  = roll_raw  - g_level_roll_off;
                float pitch_lvl = pitch_raw - g_level_pitch_off;

                float roll_meas_raw, pitch_meas_raw;

        #if IMU_SWAP_ROLL_PITCH
                roll_meas_raw  = pitch_raw - g_level_pitch_off;
                pitch_meas_raw = roll_raw  - g_level_roll_off;
        #else
                roll_meas_raw  = roll_raw  - g_level_roll_off;
                pitch_meas_raw = pitch_raw - g_level_pitch_off;
        #endif

                float roll_ctrl  = roll_meas_raw  * STAB_ROLL_SIGN;
                float pitch_ctrl = pitch_meas_raw * STAB_PITCH_SIGN;

                tp.roll_raw   = (int16_t)lroundf(roll_raw  * 100.0f);
                tp.pitch_raw  = (int16_t)lroundf(pitch_raw * 100.0f);
                tp.yaw_raw    = (int16_t)lroundf(yaw_raw   * 100.0f);

                tp.roll_lvl   = (int16_t)lroundf(roll_lvl  * 100.0f);
                tp.pitch_lvl  = (int16_t)lroundf(pitch_lvl * 100.0f);

                tp.roll_ctrl  = (int16_t)lroundf(roll_ctrl  * 100.0f);
                tp.pitch_ctrl = (int16_t)lroundf(pitch_ctrl * 100.0f);

                tp.err_roll  = g_dbg_err_roll_cdeg;
                tp.err_pitch = g_dbg_err_pitch_cdeg;

                tp.u_roll = g_dbg_u_roll;
                tp.u_pitch = g_dbg_u_pitch;
                tp.u_yaw = g_dbg_u_yaw;

                tp.k_milli = g_dbg_k_milli;
                tp.sat = g_dbg_sat;
                tp.i_enabled = g_dbg_i_enabled;

                ReadPwm(&tp.pwm);

                tx_len = Protocol_BuildFrame(DIR_STM_TO_PC, CMD_TELEM_LVL_DATA,
                                             (const uint8_t*)&tp, TELEM_LVL_PAYLOAD_SIZE,
                                             tx, sizeof(tx));
            }
        }
        else if (rx->cmd == CMD_STAB_SET)
        {
          if (rx->len != STAB_PAYLOAD_SIZE)
          {
            tx_len = Protocol_BuildStatusFrame(ST_ERR_BAD_LEN, tx, sizeof(tx));
          }
          else
          {
            StabPayload_t sp;
            memcpy(&sp, rx->data, STAB_PAYLOAD_SIZE);

            if (sp.base_pwm > PWM_MAX) sp.base_pwm = PWM_MAX;

            ControlMode_t prev_mode = g_ctrl_mode;
            uint8_t prev_armed = g_armed;

            g_target_base_pwm = sp.base_pwm;
            g_ctrl_mode = CTRL_STAB;
            if (g_level_calib_done) g_armed = 1;
            else {
                g_armed = 0;
                ACT_Reset();
            }

            float r0, p0;
            GetCtrlAnglesNow(&r0, &p0);

            g_cmd_roll_deg  = r0;
            g_cmd_pitch_deg = p0;
            g_cmd_yaw_rate_dps = 0.0f;

            g_target_cmd_roll_deg = 0.0f;
            g_target_cmd_pitch_deg = 0.0f;
            g_target_cmd_yaw_rate_dps = 0.0f;

            g_last_nav_action = NAV_STOP;
            g_nav_bias = 0;

            if (prev_mode != CTRL_STAB || !prev_armed) {
                i_roll = 0.0f;
                i_pitch = 0.0f;
                i_yaw = 0.0f;
                g_i_enabled = 0;
            }

            tx_len = Protocol_BuildFrame(DIR_STM_TO_PC, CMD_STAB_ACK,
                                         (const uint8_t*)&sp, STAB_PAYLOAD_SIZE,
                                         tx, sizeof(tx));
          }
        }
        else if (rx->cmd == CMD_STAB_OFF)
        {
          g_ctrl_mode = CTRL_MANUAL;
          g_last_nav_action = NAV_STOP;
          g_nav_bias = 0;

          i_roll = 0.0f;
          i_pitch = 0.0f;
          i_yaw = 0.0f;
          g_i_enabled = 0;

          PWM_SetSafe();
          tx_len = Protocol_BuildFrame(DIR_STM_TO_PC, CMD_STAB_OFF_ACK, NULL, 0, tx, sizeof(tx));

          ACT_Reset();
        }
        else if (rx->cmd == CMD_NAV_SET)
        {
          if (rx->len != NAV_PAYLOAD_SIZE)
          {
            tx_len = Protocol_BuildStatusFrame(ST_ERR_BAD_LEN, tx, sizeof(tx));
          }
          else
          {
            NavPayload_t np;
            memcpy(&np, rx->data, NAV_PAYLOAD_SIZE);

            if (np.base_pwm > PWM_MAX) np.base_pwm = PWM_MAX;

            ControlMode_t prev_mode = g_ctrl_mode;
            uint8_t prev_armed = g_armed;

            g_target_base_pwm = np.base_pwm;
            g_ctrl_mode = CTRL_STAB;

            if (g_level_calib_done)
                g_armed = 1;
            else {
                g_armed = 0;
                PWM_SetSafe();
                ACT_Reset();
            }

            g_last_nav_action = np.action;
            g_nav_bias = 0;

            if (prev_mode != CTRL_STAB || !prev_armed) {
                i_roll = 0.0f;
                i_pitch = 0.0f;
                i_yaw = 0.0f;
                g_i_enabled = 0;
            }

            float r0, p0;
            GetCtrlAnglesNow(&r0, &p0);

            g_cmd_roll_deg  = r0;
            g_cmd_pitch_deg = p0;
            g_cmd_yaw_rate_dps = 0.0f;

            float r_level = 0.0f;
            float p_level = 0.0f;

            g_target_cmd_roll_deg = r_level;
            g_target_cmd_pitch_deg = p_level;
            g_target_cmd_yaw_rate_dps = 0.0f;

            switch ((uint8_t)np.action)
            {
              case NAV_STOP:      g_target_cmd_yaw_rate_dps = 0.0f; break;
              case NAV_FORWARD:   g_target_cmd_pitch_deg = (p_level - NAV_TILT_DEG); break;
              case NAV_BACK:      g_target_cmd_pitch_deg = (p_level + NAV_TILT_DEG); break;
              case NAV_LEFT:      g_target_cmd_roll_deg  = (r_level - NAV_TILT_DEG); break;
              case NAV_RIGHT:     g_target_cmd_roll_deg  = (r_level + NAV_TILT_DEG); break;

              case NAV_YAW_LEFT:  g_target_cmd_yaw_rate_dps = +NAV_YAW_RATE_DPS; break;
              case NAV_YAW_RIGHT: g_target_cmd_yaw_rate_dps = -NAV_YAW_RATE_DPS; break;

              default: break;
            }

            tx_len = Protocol_BuildFrame(DIR_STM_TO_PC, CMD_NAV_ACK,
                                         (const uint8_t*)&np, NAV_PAYLOAD_SIZE,
                                         tx, sizeof(tx));
          }
        }
        else
        {
          tx_len = Protocol_BuildStatusFrame(ST_ERR_UNKNOWN_CMD, tx, sizeof(tx));
        }

        if (tx_len > 0)
          HAL_UART_Transmit(&huart6, tx, tx_len, HAL_MAX_DELAY);
      }
      else if (r == PROTO_ERROR)
      {
        uint8_t tx[16];
        uint8_t tx_len = Protocol_BuildStatusFrame(Protocol_GetLastError(), tx, sizeof(tx));
        if (tx_len > 0)
          HAL_UART_Transmit(&huart6, tx, tx_len, HAL_MAX_DELAY);
      }
    }

    HAL_Delay(1);
  }
}

void SystemClock_Config(void)
{
  RCC_OscInitTypeDef RCC_OscInitStruct = {0};
  RCC_ClkInitTypeDef RCC_ClkInitStruct = {0};

  __HAL_RCC_PWR_CLK_ENABLE();
  __HAL_PWR_VOLTAGESCALING_CONFIG(PWR_REGULATOR_VOLTAGE_SCALE1);

  RCC_OscInitStruct.OscillatorType = RCC_OSCILLATORTYPE_HSE;
  RCC_OscInitStruct.HSEState = RCC_HSE_ON;
  RCC_OscInitStruct.PLL.PLLState = RCC_PLL_NONE;
  if (HAL_RCC_OscConfig(&RCC_OscInitStruct) != HAL_OK) { Error_Handler(); }

  RCC_ClkInitStruct.ClockType = RCC_CLOCKTYPE_HCLK|RCC_CLOCKTYPE_SYSCLK
                              |RCC_CLOCKTYPE_PCLK1|RCC_CLOCKTYPE_PCLK2;
  RCC_ClkInitStruct.SYSCLKSource = RCC_SYSCLKSOURCE_HSE;
  RCC_ClkInitStruct.AHBCLKDivider = RCC_SYSCLK_DIV1;
  RCC_ClkInitStruct.APB1CLKDivider = RCC_HCLK_DIV1;
  RCC_ClkInitStruct.APB2CLKDivider = RCC_HCLK_DIV1;

  if (HAL_RCC_ClockConfig(&RCC_ClkInitStruct, FLASH_LATENCY_0) != HAL_OK) { Error_Handler(); }
}

void HAL_UART_RxCpltCallback(UART_HandleTypeDef *huart)
{
  if (huart == &huart6)
  {
    UartRing_Push(uart_rx_it_byte);
    HAL_UART_Receive_IT(&huart6, &uart_rx_it_byte, 1);
  }
}

void HAL_UART_ErrorCallback(UART_HandleTypeDef *huart)
{
  if (huart == &huart6)
  {
    __HAL_UART_CLEAR_OREFLAG(&huart6);
    __HAL_UART_CLEAR_NEFLAG(&huart6);
    __HAL_UART_CLEAR_FEFLAG(&huart6);
    __HAL_UART_CLEAR_PEFLAG(&huart6);

    HAL_UART_AbortReceive(&huart6);
    HAL_UART_Receive_IT(&huart6, &uart_rx_it_byte, 1);
  }
}

void Error_Handler(void)
{
  __disable_irq();
  while (1) { }
}

#ifdef  USE_FULL_ASSERT
void assert_failed(uint8_t *file, uint32_t line)
{
  (void)file;
  (void)line;
}
#endif
/* USER CODE END 0 */
